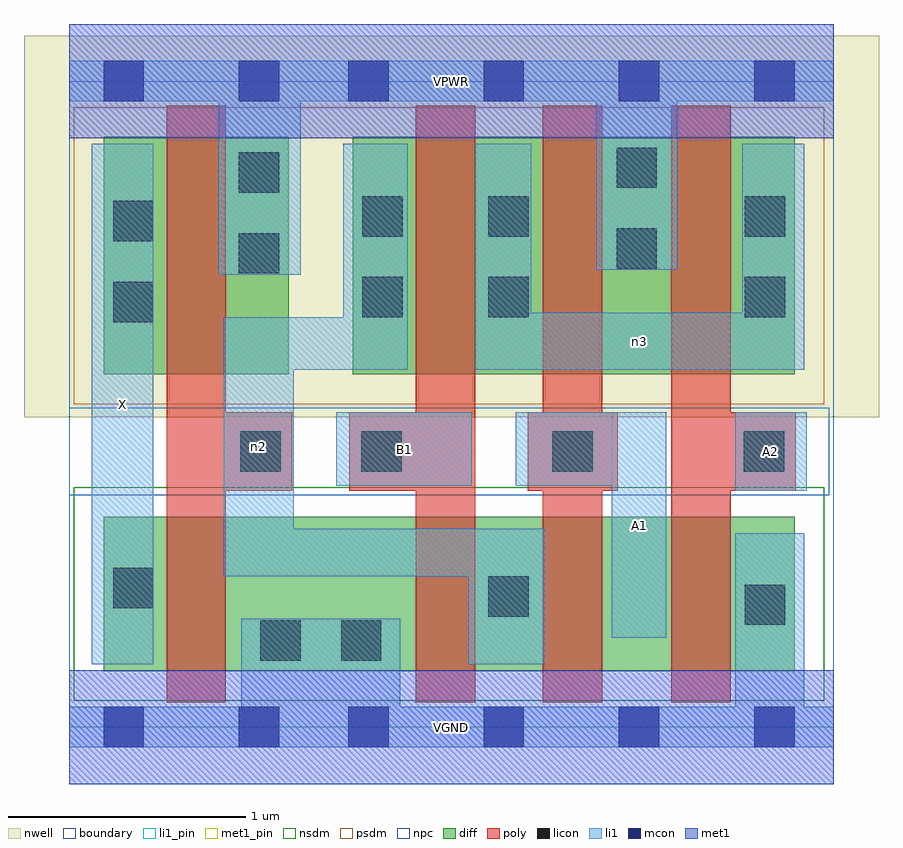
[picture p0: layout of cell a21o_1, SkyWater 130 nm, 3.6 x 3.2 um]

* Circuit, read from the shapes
.subckt a21o_1 A1 A2 B1 VGND VPWR X n2 n3
XM1 VGND n2 X VSUBS sky130_fd_pr__nfet_01v8 w=0.65 l=0.25
XM2 n2 B1 VGND VSUBS sky130_fd_pr__nfet_01v8 w=0.65 l=0.25
XM3 n1 A1 n2 VSUBS sky130_fd_pr__nfet_01v8 w=0.65 l=0.25
XM4 VGND A2 n1 VSUBS sky130_fd_pr__nfet_01v8 w=0.65 l=0.25
XM5 VPWR n2 X n4 sky130_fd_pr__pfet_01v8 w=1 l=0.25
XM6 n3 B1 n2 n4 sky130_fd_pr__pfet_01v8 w=1 l=0.25
XM7 VPWR A1 n3 n4 sky130_fd_pr__pfet_01v8 w=1 l=0.25
XM8 n3 A2 VPWR n4 sky130_fd_pr__pfet_01v8 w=1 l=0.25
.ends

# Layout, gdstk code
import gdstk
lib = gdstk.Library(unit=1e-6, precision=1e-09)
def R(c, l, rs):  # rectangles x0, y0, x1, y1
    for r in rs: c.add(gdstk.rectangle(r[:2], r[2:], *l))
def A(c, l, x, y, w, h, nx, ny, dx, dy):  # array of equal rectangles
    R(c, l, [(x+i*dx, y+j*dy, x+i*dx+w, y+j*dy+h) for i in range(nx) for j in range(ny)])
nwell = (64, 20)
diff = (65, 20)
poly = (66, 20)
licon = (66, 44)
li1_pin = (67, 16)
li1 = (67, 20)
mcon = (67, 44)
met1_pin = (68, 16)
met1 = (68, 20)
nsdm = (93, 44)
psdm = (94, 20)
npc = (95, 20)
boundary = (235, 4)

a21o_1 = lib.new_cell('a21o_1')
R(a21o_1, nwell, [(-0.19,1.305,3.41,2.91), (0,1.305,3.22,2.91)])
R(a21o_1, diff, [(0.145,0.235,3.055,0.885), (0.145,1.485,0.925,2.485), (1.195,1.485,3.055,2.485)])
R(a21o_1, poly, [(0.41,0.105,0.66,2.615), (1.46,0.105,1.71,2.615), (1.995,0.105,2.245,2.615), (2.535,0.105,2.785,2.615), (0.41,0.995,0.94,1.325), (1.18,0.995,1.71,1.325), (1.93,0.995,2.31,1.325), (2.535,0.995,3.06,1.325)])
A(a21o_1, licon, 1.23, 1.075, 0.17, 0.17, 3, 1, 0.805, 0)
R(a21o_1, licon, [(0.805,0.28,0.975,0.45), (1.145,0.28,1.315,0.45), (2.845,0.43,3.015,0.6), (1.765,0.465,1.935,0.635), (0.185,0.5,0.355,0.67), (0.72,1.075,0.89,1.245), (0.185,1.705,0.355,1.875), (1.235,1.725,1.405,1.895), (1.765,1.725,1.935,1.895), (2.845,1.725,3.015,1.895), (0.715,1.91,0.885,2.08), (2.305,1.93,2.475,2.1), (0.185,2.045,0.355,2.215), (1.235,2.065,1.405,2.235), (1.765,2.065,1.935,2.235), (2.845,2.065,3.015,2.235), (0.715,2.25,0.885,2.42), (2.305,2.27,2.475,2.44)])
R(a21o_1, li1_pin, [(0.095,0.265,0.355,2.455), (2.285,0.375,2.515,1.325), (2.805,0.995,3.105,1.325), (1.125,1.015,1.695,1.325)])
R(a21o_1, li1, [(0,-0.085,3.22,0.085), (0.725,-0.085,1.395,0.455), (2.805,-0.085,3.095,0.815), (0.095,0.265,0.355,2.455), (1.68,0.265,2,0.835), (2.285,0.375,2.515,1.325), (0.65,0.635,0.945,1.725), (0.65,0.635,2,0.835), (2.805,0.995,3.105,1.325), (1.125,1.015,1.695,1.325), (1.88,1.015,2.515,1.325), (0.65,1.505,1.425,1.725), (1.155,1.505,1.425,2.455), (1.71,1.505,3.095,1.745), (1.71,1.505,1.945,2.455), (2.835,1.505,3.095,2.455), (0.63,1.905,0.975,2.805), (2.22,1.925,2.56,2.805), (0,2.635,3.22,2.805)])
A(a21o_1, mcon, 1.175, -0.085, 0.17, 0.17, 4, 2, 0.57, 2.72)
R(a21o_1, mcon, [(0.145,-0.085,0.315,0.085), (0.715,-0.085,0.885,0.085), (0.145,2.635,0.315,2.805), (0.715,2.635,0.885,2.805)])
R(a21o_1, met1_pin, [(0,-0.24,3.22,0.24), (0,2.48,3.22,2.96)])
R(a21o_1, met1, [(0,-0.24,3.22,0.24), (0,2.48,3.22,2.96)])
R(a21o_1, nsdm, [(0.02,0.11,3.18,1.01)])
R(a21o_1, psdm, [(0.02,1.36,3.18,2.61)])
R(a21o_1, npc, [(0,0.975,3.2,1.345)])
R(a21o_1, boundary, [(0,0,3.22,2.72)])
a21o_1.add(gdstk.Label('A1', (2.4,0.85), layer=67, texttype=5))
a21o_1.add(gdstk.Label('A2', (2.955,1.16), layer=67, texttype=5))
a21o_1.add(gdstk.Label('B1', (1.41,1.17), layer=67, texttype=5))
a21o_1.add(gdstk.Label('X', (0.225,1.36), layer=67, texttype=5))
a21o_1.add(gdstk.Label('n2', (0.797,1.18), layer=67, texttype=5))
a21o_1.add(gdstk.Label('n3', (2.402,1.625), layer=67, texttype=5))
a21o_1.add(gdstk.Label('VPWR', (1.61,2.72), layer=68, texttype=5))
a21o_1.add(gdstk.Label('VGND', (1.61,0), layer=68, texttype=5))
a21o_1.add(gdstk.Label('A1', (2.4,0.85), layer=67, texttype=16))
a21o_1.add(gdstk.Label('A2', (2.955,1.16), layer=67, texttype=16))
a21o_1.add(gdstk.Label('B1', (1.41,1.17), layer=67, texttype=16))
a21o_1.add(gdstk.Label('X', (0.225,1.36), layer=67, texttype=16))
a21o_1.add(gdstk.Label('VPWR', (1.61,2.72), layer=68, texttype=16))
a21o_1.add(gdstk.Label('VGND', (1.61,0), layer=68, texttype=16))

lib.write_gds('a21o_1.gds')
